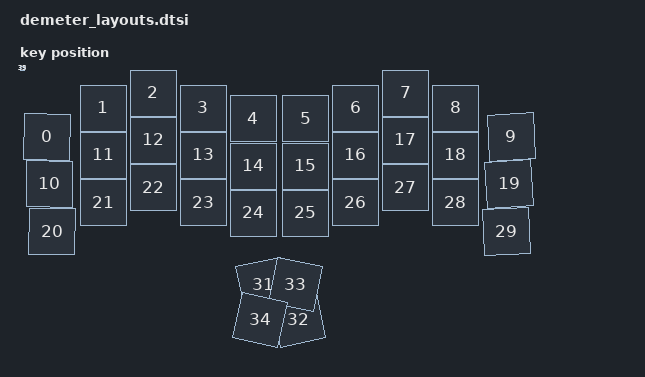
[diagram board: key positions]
#include <physical_layouts.dtsi>

/ {
    demeter_physical_layout: demeter_physical_layout {
        compatible = "zmk,physical-layout";
        display-name = "Demeter";

        transform = <&default_transform>;

        /* keys[] is indexed by keymap position (same order as the transform map):
           rows 0-2 = left 5 + right 5, then 30 unused, 31-32 left thumbs,
           33-34 right thumbs, 35 unused. */
        keys  //                     w    h     x    y      rot    rx    ry
            = <&key_physical_attrs 100 100     0   88       30    50   138>  /*  0  Q */
            , <&key_physical_attrs 100 100   112   30        0     0     0>  /*  1  W */
            , <&key_physical_attrs 100 100   212    0        0     0     0>  /*  2  E */
            , <&key_physical_attrs 100 100   312   30        0     0     0>  /*  3  R */
            , <&key_physical_attrs 100 100   412   51        0     0     0>  /*  4  T */

            , <&key_physical_attrs 100 100   517   51        0     0     0>  /*  5  Y */
            , <&key_physical_attrs 100 100   617   30        0     0     0>  /*  6  U */
            , <&key_physical_attrs 100 100   717    0        0     0     0>  /*  7  I */
            , <&key_physical_attrs 100 100   817   30        0     0     0>  /*  8  O */
            , <&key_physical_attrs 100 100   929   88    35700   979   138>  /*  9  P */

            , <&key_physical_attrs 100 100     5  182       30    55   232>  /* 10  A */
            , <&key_physical_attrs 100 100   112  124        0     0     0>  /* 11  S */
            , <&key_physical_attrs 100 100   212   94        0     0     0>  /* 12  D */
            , <&key_physical_attrs 100 100   312  124        0     0     0>  /* 13  F */
            , <&key_physical_attrs 100 100   412  146        0     0     0>  /* 14  G */

            , <&key_physical_attrs 100 100   517  146        0     0     0>  /* 15  H */
            , <&key_physical_attrs 100 100   617  124        0     0     0>  /* 16  J */
            , <&key_physical_attrs 100 100   717   94        0     0     0>  /* 17  K */
            , <&key_physical_attrs 100 100   817  124        0     0     0>  /* 18  L */
            , <&key_physical_attrs 100 100   924  182    35700   974   232>  /* 19  ' */

            , <&key_physical_attrs 100 100    10  277       30    60   327>  /* 20  Z */
            , <&key_physical_attrs 100 100   112  219        0     0     0>  /* 21  X */
            , <&key_physical_attrs 100 100   212  189        0     0     0>  /* 22  C */
            , <&key_physical_attrs 100 100   312  219        0     0     0>  /* 23  V */
            , <&key_physical_attrs 100 100   412  240        0     0     0>  /* 24  B */

            , <&key_physical_attrs 100 100   517  240        0     0     0>  /* 25  N */
            , <&key_physical_attrs 100 100   617  219        0     0     0>  /* 26  M */
            , <&key_physical_attrs 100 100   717  189        0     0     0>  /* 27  , */
            , <&key_physical_attrs 100 100   817  219        0     0     0>  /* 28  . */
            , <&key_physical_attrs 100 100   919  277    35700   969   327>  /* 29  RET */

            , <&key_physical_attrs   0   0     0    0        0     0     0>  /* 30  --  unused outer thumb (no physical key) */
            , <&key_physical_attrs 100 100   432  383    34800   482   433>  /* 31  LTH1 */
            , <&key_physical_attrs 100 100   503  454    34800   553   504>  /* 32  LTH2 */
            , <&key_physical_attrs 100 100   497  383     1200   547   433>  /* 33  RTH1 */
            , <&key_physical_attrs 100 100   426  454     1200   476   504>  /* 34  RTH2 */
            , <&key_physical_attrs   0   0     0    0        0     0     0>  /* 35  --  unused outer thumb (no physical key) */
            ;
    };
};
